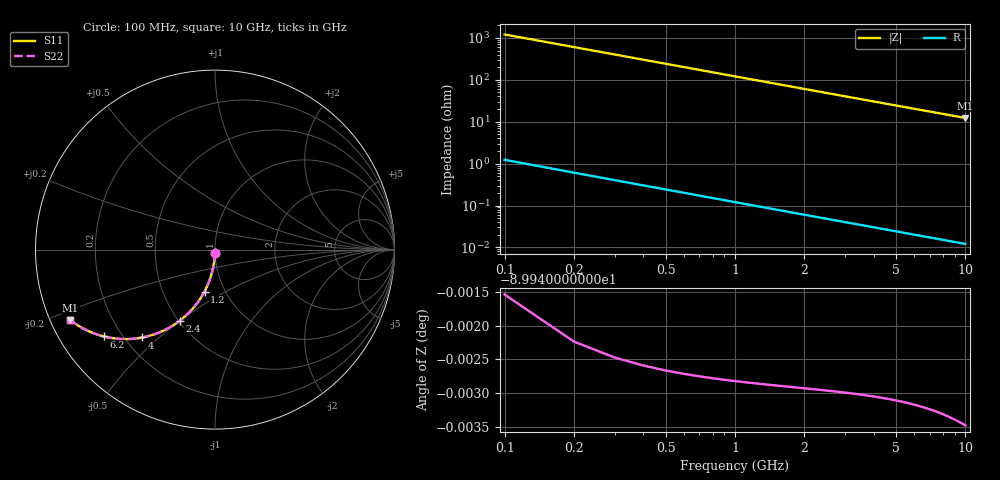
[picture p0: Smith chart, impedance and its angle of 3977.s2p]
# Hz S RI R 50.00
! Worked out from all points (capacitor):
!   100 points, 100 MHz to 10 GHz, reference 50 ohm
!   read as one part in shunt: C = 1.32 pF near 100 MHz
!   lowest |Z| = 12.3 ohm at 10 GHz (marker M1)
!   S11 on the Smith chart (normalised r, x): 100 MHz: 1.00, -0.04; 1.2 GHz: 0.80, -0.40; 2.4 GHz: 0.50, -0.50; 4 GHz: 0.27, -0.44; 6.2 GHz: 0.13, -0.34; 10 GHz: 0.06, -0.23
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1e8  -0.000444 -0.0207  0.9995 -0.0207  0.9995 -0.0207  -0.000444 -0.0207
2e8  -0.00175 -0.0413  0.9982 -0.0414  0.9982 -0.0414  -0.00175 -0.0413
3e8  -0.0039 -0.0618  0.9961 -0.0619  0.9961 -0.0619  -0.0039 -0.0618
4e8  -0.00689 -0.0822  0.9931 -0.0823  0.9931 -0.0823  -0.00689 -0.0822
5e8  -0.0107 -0.1023  0.9893 -0.1025  0.9893 -0.1025  -0.0107 -0.1023
6e8  -0.0153 -0.1222  0.9847 -0.1224  0.9847 -0.1224  -0.0153 -0.1222
7e8  -0.0207 -0.1417  0.9793 -0.142  0.9793 -0.142  -0.0207 -0.1417
9e8  -0.0337 -0.1798  0.9663 -0.1801  0.9663 -0.1801  -0.0337 -0.1798
1.2e9  -0.0582 -0.2335  0.9417 -0.234  0.9417 -0.234  -0.0582 -0.2335
1.5e9  -0.088 -0.2825  0.912 -0.2831  0.912 -0.2831  -0.088 -0.2825
1.8e9  -0.1218 -0.3262  0.8782 -0.3269  0.8782 -0.3269  -0.1218 -0.3262
2.1e9  -0.1586 -0.3644  0.8414 -0.3652  0.8414 -0.3652  -0.1586 -0.3644
2.4e9  -0.1973 -0.397  0.8027 -0.398  0.8027 -0.398  -0.1973 -0.397
2.9e9  -0.2637 -0.4395  0.7363 -0.4407  0.7363 -0.4407  -0.2637 -0.4395
3.4e9  -0.3294 -0.4688  0.6706 -0.4702  0.6706 -0.4702  -0.3294 -0.4688
4e9  -0.4041 -0.4894  0.5959 -0.4911  0.5959 -0.4911  -0.4041 -0.4894
5.1e9  -0.5233 -0.4979  0.4767 -0.5  0.4767 -0.5  -0.5233 -0.4979
6.2e9  -0.6179 -0.4841  0.3821 -0.4867  0.3821 -0.4867  -0.6179 -0.4841
6.7e9  -0.6534 -0.4739  0.3466 -0.4768  0.3466 -0.4768  -0.6534 -0.4739
7.5e9  -0.7022 -0.4552  0.2978 -0.4584  0.2978 -0.4584  -0.7022 -0.4552
8.4e9  -0.7469 -0.4324  0.2531 -0.4361  0.2531 -0.4361  -0.7469 -0.4324
1e10  -0.8066 -0.3923  0.1934 -0.3966  0.1934 -0.3966  -0.8066 -0.3923
